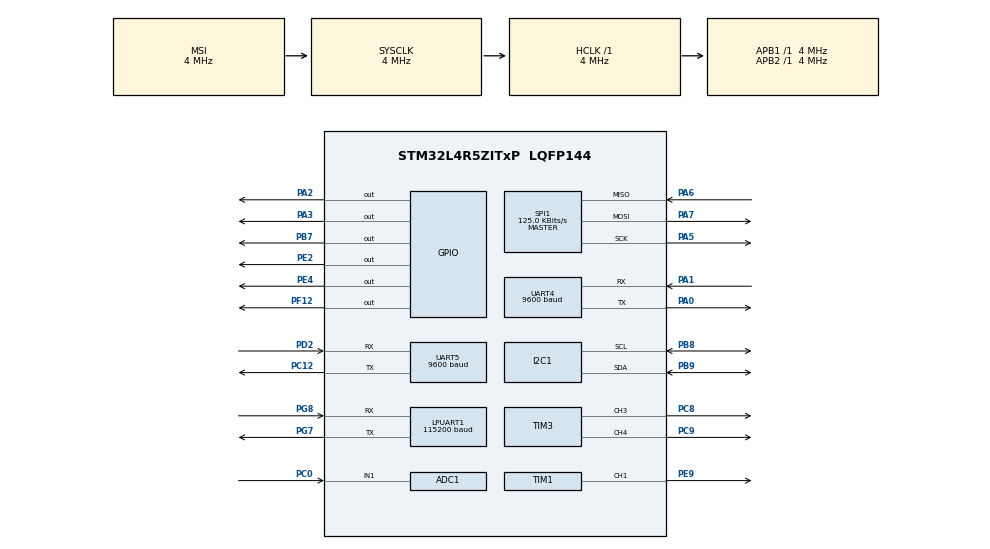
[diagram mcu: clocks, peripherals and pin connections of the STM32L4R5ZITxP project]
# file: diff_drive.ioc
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ADC1.Channel-0\#ChannelRegularConversion=ADC_CHANNEL_1
ADC1.NbrOfConversionFlag=1
ADC1.OffsetNumber-0\#ChannelRegularConversion=ADC_OFFSET_NONE
ADC1.Rank-0\#ChannelRegularConversion=1
ADC1.SamplingTime-0\#ChannelRegularConversion=ADC_SAMPLETIME_2CYCLES_5
ADC1.master=1
I2C1.Timing=0x00100D14
LPUART1.BaudRate=115200
LPUART1.WordLength=UART_WORDLENGTH_8B
Mcu.Family=STM32L4
Mcu.Name=STM32L4R5ZITxP
Mcu.Package=LQFP144
NVIC.PriorityGroup=NVIC_PRIORITYGROUP_4
NVIC.UART5_IRQn=true\:0\:0\:false\:false\:true\:true\:true\:true
PA0.Mode=Asynchronous
PA0.Signal=UART4_TX
PA1.Mode=Asynchronous
PA1.Signal=UART4_RX
PA10.Signal=USB_OTG_FS_ID
PA13\ (JTMS/SWDIO).Signal=SYS_JTMS-SWDIO
PA14\ (JTCK/SWCLK).Signal=SYS_JTCK-SWCLK
PA2.Signal=GPIO_Output
PA3.Signal=GPIO_Output
PA4.Signal=SPI1_NSS
PA5.Mode=Full_Duplex_Master
PA5.Signal=SPI1_SCK
PA6.Mode=Full_Duplex_Master
PA6.Signal=SPI1_MISO
PA7.Mode=Full_Duplex_Master
PA7.Signal=SPI1_MOSI
PA8.Signal=USB_OTG_FS_SOF
PA9.Signal=USB_OTG_FS_VBUS
PB1.Signal=ADCx_IN16
PB10.Signal=S_TIM2_CH3
PB12.Signal=SAI2_FS_A
PB13.Signal=SAI2_SCK_A
PB14.Signal=S_TIM15_CH1
PB15.Signal=SAI2_SD_A
PB2.Signal=COMP1_INP
PB3\ (JTDO/TRACESWO).Signal=SPI3_SCK
PB4\ (NJTRST).Signal=SPI3_MISO
PB5.Signal=SPI3_MOSI
PB6.Signal=COMP2_INP
PB7.Signal=GPIO_Output
PB8.Mode=I2C
PB8.Signal=I2C1_SCL
PB9.Mode=I2C
PB9.Signal=I2C1_SDA
PC0.Signal=ADCx_IN1
PC1.Signal=ADCx_IN2
PC10.Signal=SDMMC1_D2
PC11.Signal=SDMMC1_D3
PC12.Mode=Asynchronous
PC12.Signal=UART5_TX
PC13.Signal=SYS_WKUP2
PC14-OSC32_IN\ (PC14).Mode=LSE-External-Oscillator
PC14-OSC32_IN\ (PC14).Signal=RCC_OSC32_IN
PC15-OSC32_OUT\ (PC15).Mode=LSE-External-Oscillator
PC15-OSC32_OUT\ (PC15).Signal=RCC_OSC32_OUT
PC2.Signal=ADCx_IN3
PC3.Signal=ADCx_IN4
PC4.Signal=ADCx_IN13
PC5.Signal=ADCx_IN14
PC6.Signal=SAI2_MCLK_A
PC7.Signal=S_TIM3_CH2
PC8.Signal=S_TIM3_CH3
PC9.Signal=S_TIM3_CH4
PD0.Signal=CAN1_RX
PD14.Signal=S_TIM4_CH3
PD15.Signal=S_TIM4_CH4
PD2.Mode=Asynchronous
PD2.Signal=UART5_RX
PD3.Signal=USART2_CTS
PD4.Signal=USART2_RTS
PD5.Signal=USART2_TX
PD6.Signal=USART2_RX
PD8.Signal=USART3_TX
PD9.Signal=USART3_RX
PE0.Signal=S_TIM4_ETR
PE10.Signal=TIM1_CH2N
PE11.Signal=S_TIM1_CH2
PE12.Signal=TIM1_CH3N
PE13.Signal=S_TIM1_CH3
PE14.Signal=TIM1_BKIN2
PE15.Signal=TIM1_BKIN
PE2.Signal=GPIO_Output
PE3.Signal=SAI1_SD_B
PE4.Signal=GPIO_Output
PE7.Signal=S_TIM1_ETR
PE8.Signal=TIM1_CH1N
PE9.Signal=S_TIM1_CH1
PF0.Signal=I2C2_SDA
PF1.Signal=I2C2_SCL
PF12.Signal=GPIO_Output
PF2.Signal=I2C2_SMBA
PF7.Signal=SAI1_MCLK_B
PG7.Mode=Asynchronous
PG7.Signal=LPUART1_TX
PG8.Mode=Asynchronous
PG8.Signal=LPUART1_RX
PH0-OSC_IN\ (PH0).Mode=HSE-External-Oscillator
PH0-OSC_IN\ (PH0).Signal=RCC_OSC_IN
PH1-OSC_OUT\ (PH1).Mode=HSE-External-Oscillator
PH1-OSC_OUT\ (PH1).Signal=RCC_OSC_OUT
ProjectManager.HeapSize=0x200
ProjectManager.StackSize=0x400
ProjectManager.TargetToolchain=STM32CubeIDE
RCC.ADCFreq_Value=32000000
RCC.AHBFreq_Value=4000000
RCC.APB1Freq_Value=4000000
RCC.APB1TimFreq_Value=4000000
RCC.APB2Freq_Value=4000000
RCC.APB2TimFreq_Value=4000000
RCC.CortexFreq_Value=4000000
RCC.HCLKFreq_Value=4000000
RCC.HSE_VALUE=8000000
RCC.HSI48_VALUE=48000000
RCC.HSI_VALUE=16000000
RCC.MSI_VALUE=4000000
RCC.PLLSAI1N=16
RCC.SYSCLKFreq_VALUE=4000000
RCC.USBFreq_Value=32000000
RCC.VCOOutputFreq_Value=32000000
SH.ADCx_IN1.0=ADC1_IN1,IN1-Single-Ended
SH.ADCx_IN13.0=ADC1_IN13
SH.ADCx_IN14.0=ADC1_IN14
SH.ADCx_IN16.0=ADC1_IN16
SH.ADCx_IN2.0=ADC1_IN2
SH.ADCx_IN3.0=ADC1_IN3
SH.ADCx_IN4.0=ADC1_IN4
SH.S_TIM15_CH1.0=TIM15_CH1
SH.S_TIM1_CH1.0=TIM1_CH1,PWM Generation1 CH1
SH.S_TIM1_CH2.0=TIM1_CH2
SH.S_TIM1_CH3.0=TIM1_CH3
SH.S_TIM1_ETR.0=TIM1_ETR
SH.S_TIM2_CH3.0=TIM2_CH3
SH.S_TIM3_CH2.0=TIM3_CH2
SH.S_TIM3_CH3.0=TIM3_CH3,PWM Generation3 CH3
SH.S_TIM3_CH4.0=TIM3_CH4,PWM Generation4 CH4
SH.S_TIM4_CH3.0=TIM4_CH3
SH.S_TIM4_CH4.0=TIM4_CH4
SH.S_TIM4_ETR.0=TIM4_ETR
SPI1.BaudRatePrescaler=SPI_BAUDRATEPRESCALER_32
SPI1.CalculateBaudRate=125.0 KBits/s
SPI1.DataSize=SPI_DATASIZE_8BIT
SPI1.Direction=SPI_DIRECTION_2LINES
SPI1.Mode=SPI_MODE_MASTER
SPI1.VirtualType=VM_MASTER
TIM1.Channel-PWM\ Generation1\ CH1=TIM_CHANNEL_1
TIM3.Channel-PWM\ Generation3\ CH3=TIM_CHANNEL_3
TIM3.Channel-PWM\ Generation4\ CH4=TIM_CHANNEL_4
UART4.BaudRate=9600
UART5.BaudRate=9600
board=NUCLEO-L4R5ZI-P

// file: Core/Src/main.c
/* USER CODE BEGIN Header */
/**
  ******************************************************************************
  * @file           : main.c
  * @brief          : Main program body
  ******************************************************************************
  * @attention
  *
  * Copyright (c) 2025 STMicroelectronics.
  * All rights reserved.
  *
  * This software is licensed under terms that can be found in the LICENSE file
  * in the root directory of this software component.
  * If no LICENSE file comes with this software, it is provided AS-IS.
  *
  ******************************************************************************
  */
/* USER CODE END Header */
#include "main.h"

/* USER CODE BEGIN Includes */
#include "stdio.h"
#include "math.h"
#include "string.h"
#include "led.h"
/* USER CODE END Includes */

ADC_HandleTypeDef hadc1;

I2C_HandleTypeDef hi2c1;

UART_HandleTypeDef hlpuart1;
UART_HandleTypeDef huart4;
UART_HandleTypeDef huart5;

SPI_HandleTypeDef hspi1;

TIM_HandleTypeDef htim1;
TIM_HandleTypeDef htim3;

/* USER CODE BEGIN PV */
char xbee_buffer[100];
uint8_t xbee_int_buf[4];
volatile uint8_t xbee_int_ready = 0;

// FOR IR CAM 1
uint8_t buf[128];
uint8_t reg = 0x80;
#define SAD_IRCAM_W 0b11010010
#define SAD_IRCAM_R 0b11010011
volatile uint8_t glass_xbee_ready = 0;
uint8_t temp_send[32];
uint8_t xbee_glass_int_buf[2];
uint8_t glass_start_bytes[2] = {0xAA, 0x55};

//for temp tracking
#define HISTORY_LEN 4
uint8_t brightest_history[HISTORY_LEN];
uint8_t history_pos = 0; // where to write next
uint8_t history_count = 0; // how many valid entries (<= 50)

//for P controller
const float Kp_x = 8000.0f;
const float Kp_rot = 13000.0f;

const float Ki = 0.0f;//also tune
const float dt = 0.03f;//30ms

//modes
typedef enum {
    MODE_JOYSTICK = 0,
    MODE_IR_ONLY  = 1,
    MODE_MIXED    = 2,
} control_mode_t;

int power = 0;
int8_t button1 = 0;
int8_t button2 = 0;
static uint8_t last_button1 = 0;
static uint8_t last_button2 = 0;

volatile control_mode_t control_mode = MODE_IR_ONLY;

#define DIR_L1_PORT GPIOE
#define DIR_L1_PIN  GPIO_PIN_2
#define DIR_L2_PORT GPIOE
#define DIR_L2_PIN  GPIO_PIN_4
#define DIR_R1_PORT GPIOA
#define DIR_R1_PIN  GPIO_PIN_2
#define DIR_R2_PORT GPIOA
#define DIR_R2_PIN  GPIO_PIN_3

#define RED_Port	GPIOF
#define RED_Pin		GPIO_PIN_12

volatile uint8_t  buzzer_playing = 0;
volatile uint32_t buzzer_idx = 0;
volatile uint32_t buzzer_note_deadline_ms = 0;

#define TIMER_CLK_HZ 4000000.0f

typedef struct {
    const float *freqs;
    const float *durs;
    uint32_t     len;
} Song;

const float levels_freqs[] = {
		742.90, 829.03, 333.76, 656.76, 559.86, 495.26, 419.90, 366.06, 333.76, 333.76, 333.76, 312.23, 312.23, 333.76, 559.86, 495.26, 419.90, 366.06, 333.76, 333.76, 333.76, 279.93, 279.93, 247.63, 247.63, 559.86, 495.26, 419.90, 366.06, 333.76, 333.76, 312.23, 333.76, 559.86, 549.10, 495.26, 419.90, 366.06, 333.76, 333.76, 333.76, 333.76, 279.93, 279.93, 247.63, 247.63, 247.63, 247.63, 366.06, 333.76, 333.76, 333.76, 312.23, 333.76, 559.86, 495.26, 419.90, 366.06, 333.76, 333.76, 333.76, 333.76, 333.76, 279.93, 279.93, 247.63, 247.63, 559.86, 495.26, 419.90, 409.13, 409.13, 419.90, 495.26, 419.90, 409.13, 495.26, 409.13, 409.13, 409.13, 409.13
	};
const float levels_durs[]  = {
		417.96, 197.37, 92.88, 336.69, 116.10, 208.98, 197.37, 220.59, 603.72, 615.33, 174.15, 185.76, 197.37, 534.06, 174.15, 220.59, 197.37, 197.37, 185.76, 580.50, 615.33, 197.37, 208.98, 197.37, 290.25, 139.32, 220.59, 208.98, 220.59, 1253.88, 162.54, 429.57, 592.11, 139.32, 92.88, 208.98, 197.37, 220.59, 185.76, 301.86, 255.42, 603.72, 197.37, 220.59, 197.37, 545.67, 174.15, 197.37, 243.81, 615.33, 615.33, 162.54, 429.57, 522.45, 162.54, 220.59, 208.98, 220.59, 185.76, 232.20, 81.27, 174.15, 603.72, 197.37, 208.98, 208.98, 325.08, 139.32, 220.59, 197.37, 383.13, 104.49, 150.93, 92.88, 116.10, 174.15, 104.49, 197.37, 267.03, 92.88, 150.93
	};

const float song2_freqs[] = {387.60, 527.56, 592.16, 527.56, 495.26, 441.43, 441.43, 592.16, 592.16, 656.76, 592.16, 527.56, 495.26, 387.60, 656.76, 699.83, 656.76, 592.16, 527.56, 441.43, 387.60, 387.60, 441.43, 592.16, 495.26, 527.56, 387.60, 527.56, 527.56, 495.26, 495.26, 527.56, 495.26, 441.43, 387.60, 592.16, 656.76, 592.16, 527.56, 516.80, 527.56, 785.96, 387.60, 387.60, 441.43, 592.16, 495.26, 527.56, 527.56, 527.56, 516.80, 516.80, 527.56, 527.56, 527.56};
const float song2_durs[]  = {522.45, 743.04, 255.42, 255.42, 243.81, 975.24, 476.01, 476.01, 185.76, 255.42, 255.42, 255.42, 487.62, 998.46, 754.65, 255.42, 243.81, 255.42, 464.40, 499.23, 232.20, 220.59, 487.62, 499.23, 499.23, 998.46, 487.62, 476.01, 963.63, 986.85, 499.23, 476.01, 510.84, 487.62, 986.85, 522.45, 499.23, 499.23, 220.59, 81.27, 197.37, 499.23, 719.82, 220.59, 499.23, 499.23, 499.23, 975.24, 220.59, 371.52, 81.27, 104.49, 534.06, 197.37, 1729.89};

const float song3_freqs[] = {290.70, 495.26, 441.43, 387.60, 290.70, 290.70, 495.26, 441.43, 387.60, 333.76, 333.76, 527.56, 495.26, 441.43, 366.06, 366.06, 366.06, 366.06, 366.06, 592.16, 527.56, 441.43, 495.26, 290.70, 495.26, 441.43, 387.60, 290.70, 290.70, 495.26, 441.43, 387.60, 333.76, 333.76, 527.56, 495.26, 441.43, 366.06, 592.16, 559.86, 549.10, 592.16, 656.76, 592.16, 527.56, 441.43, 387.60, 592.16, 495.26, 592.16, 387.60, 441.43, 495.26, 495.26, 527.56, 495.26, 495.26, 495.26, 441.43, 495.26, 441.43, 592.16, 495.26, 592.16, 387.60, 441.43, 495.26, 495.26, 495.26, 527.56, 495.26, 592.16, 592.16, 527.56, 441.43, 387.60, 398.36, 398.36, 387.60, 398.36, 387.60, 398.36, 387.60};
const float song3_durs[] = {359.91, 336.69, 325.08, 336.69, 975.24, 684.99, 325.08, 336.69, 336.69, 1288.71, 348.30, 336.69, 325.08, 325.08, 673.38, 162.54, 81.27, 81.27, 348.30, 336.69, 336.69, 325.08, 1323.54, 348.30, 336.69, 325.08, 336.69, 661.77, 963.63, 336.69, 336.69, 336.69, 1207.44, 348.30, 325.08, 325.08, 336.69, 336.69, 301.86, 116.10, 81.27, 336.69, 336.69, 336.69, 325.08, 336.69, 661.77, 661.77, 3006.98, 336.69, 487.62, 174.15, 847.53, 417.96, 1683.45, 812.70, 127.71, 325.08, 661.77, 336.69, 650.16, 673.38, 3006.98, 336.69, 487.62, 174.15, 708.21, 336.69, 139.32, 1695.06, 998.46, 301.86, 278.64, 336.69, 325.08, 1323.54, 185.76, 92.88, 104.49, 127.71, 174.15, 754.65, 1265.49};

const float song4_freqs[] = {387.60, 344.53, 333.76, 290.70, 258.40, 290.70, 333.76, 258.40, 290.70, 333.76, 344.53, 290.70, 333.76, 290.70, 258.40, 247.63, 258.40, 387.60, 344.53, 333.76, 290.70, 258.40, 290.70, 333.76, 258.40, 290.70, 333.76, 344.53, 290.70, 333.76, 290.70, 258.40, 247.63, 258.40, 290.70, 333.76, 344.53, 290.70, 333.76, 344.53, 387.60, 290.70, 333.76, 366.06, 387.60, 441.43, 495.26, 527.56, 495.26, 441.43, 387.60, 344.53, 333.76, 290.70, 258.40, 290.70, 333.76, 258.40, 441.43, 441.43, 387.60, 344.53, 333.76, 290.70, 258.40, 269.17, 258.40};
const float song4_durs[] = {766.26, 220.59, 499.23, 499.23, 487.62, 487.62, 499.23, 476.01, 267.03, 255.42, 197.37, 243.81, 743.04, 243.81, 464.40, 464.40, 975.24, 754.65, 243.81, 499.23, 510.84, 476.01, 499.23, 510.84, 487.62, 255.42, 255.42, 232.20, 255.42, 743.04, 243.81, 510.84, 476.01, 963.63, 743.04, 255.42, 464.40, 487.62, 731.43, 220.59, 499.23, 476.01, 255.42, 243.81, 487.62, 255.42, 255.42, 452.79, 499.23, 499.23, 1741.50, 243.81, 499.23, 510.84, 476.01, 487.62, 510.84, 487.62, 243.81, 731.43, 743.04, 220.59, 499.23, 487.62, 1451.25, 92.88, 2438.10};

const float song5_freqs[] = {333.76, 258.40, 290.70, 290.70, 247.63, 247.63, 333.76, 333.76, 258.40, 344.53, 333.76, 527.56, 527.56, 516.80, 527.56, 441.43, 333.76, 247.63, 344.53, 355.30, 344.53, 333.76, 592.16, 592.16, 592.16, 495.26, 656.76, 592.16, 527.56, 527.56, 656.76, 592.16, 527.56, 656.76, 592.16, 527.56, 441.43, 441.43, 656.76, 656.76, 344.53, 344.53, 290.70, 344.53, 355.30, 344.53, 290.70, 290.70, 344.53, 290.70, 172.27, 290.70, 290.70, 344.53, 290.70, 290.70, 344.53, 290.70, 172.27, 172.27, 290.70, 172.27, 333.76, 441.43, 441.43, 441.43, 419.90, 409.13, 419.90, 495.26, 495.26, 495.26, 441.43, 441.43, 441.43, 527.56, 527.56, 495.26, 495.26, 592.16, 592.16, 559.86, 656.76, 592.16, 592.16, 699.83, 699.83, 656.76, 785.96, 699.83, 699.83, 882.86, 829.03, 829.03, 990.53, 882.86, 1044.36, 1044.36, 882.86, 656.76, 527.56, 441.43, 441.43, 441.43, 333.76, 258.40, 258.40, 258.40, 1173.56, 990.53, 829.03, 829.03, 829.03, 656.76, 592.16, 592.16, 495.26, 419.90, 409.13, 419.90, 409.13, 419.90, 441.43, 419.90, 290.70, 419.90, 441.43, 258.40, 829.03, 592.16, 592.16, 527.56, 527.56, 882.86, 882.86, 882.86, 527.56, 527.56, 527.56, 882.86, 527.56, 882.86, 527.56, 882.86};
const float song5_durs[] = {534.06, 2786.39, 336.69, 162.54, 3308.84, 116.10, 185.76, 336.69, 150.93, 487.62, 150.93, 139.32, 92.88, 81.27, 116.10, 708.21, 534.06, 150.93, 127.71, 81.27, 278.64, 150.93, 139.32, 139.32, 162.54, 812.70, 359.91, 162.54, 661.77, 116.10, 371.52, 127.71, 812.70, 359.91, 127.71, 650.16, 499.23, 81.27, 510.84, 185.76, 336.69, 127.71, 3482.99, 150.93, 81.27, 278.64, 185.76, 232.20, 81.27, 232.20, 429.57, 220.59, 150.93, 534.06, 197.37, 162.54, 104.49, 278.64, 313.47, 92.88, 150.93, 394.74, 197.37, 150.93, 127.71, 626.94, 139.32, 92.88, 104.49, 162.54, 127.71, 638.55, 150.93, 127.71, 150.93, 139.32, 139.32, 139.32, 162.54, 139.32, 139.32, 301.86, 336.69, 139.32, 150.93, 150.93, 162.54, 325.08, 325.08, 162.54, 162.54, 325.08, 139.32, 150.93, 150.93, 185.76, 139.32, 301.86, 174.15, 510.84, 162.54, 150.93, 127.71, 150.93, 174.15, 139.32, 116.10, 267.03, 476.01, 185.76, 162.54, 127.71, 139.32, 174.15, 313.47, 162.54, 162.54, 127.71, 81.27, 92.88, 81.27, 81.27, 801.09, 81.27, 92.88, 81.27, 650.16, 150.93, 116.10, 139.32, 139.32, 336.69, 429.57, 92.88, 185.76, 139.32, 162.54, 150.93, 127.71, 162.54, 185.76, 127.71, 208.98, 928.80};

Song songs[] = {
    { levels_freqs, levels_durs, sizeof(levels_freqs)/sizeof(levels_freqs[0]) },
    { song2_freqs, song2_durs, sizeof(song2_freqs)/sizeof(song2_freqs[0]) },
	{song3_freqs, song3_durs, sizeof(song3_freqs)/sizeof(song3_freqs[0]) },
	{song4_freqs, song4_durs, sizeof(song4_freqs)/sizeof(song4_freqs[0]) },
	{song5_freqs, song5_durs, sizeof(song5_freqs)/sizeof(song5_freqs[0]) },
};

static const float *current_freqs = levels_freqs;
static const float *current_durs  = levels_durs;
static uint32_t     current_len   = sizeof(levels_freqs)/sizeof(levels_freqs[0]);

/* USER CODE END PV */

void SystemClock_Config(void);
static void MX_GPIO_Init(void);
static void MX_TIM3_Init(void);
static void MX_UART5_Init(void);
static void MX_LPUART1_UART_Init(void);
static void MX_I2C1_Init(void);
static void MX_UART4_Init(void);
static void MX_SPI1_Init(void);
static void MX_ADC1_Init(void);
static void MX_TIM1_Init(void);

/* USER CODE BEGIN 0 */

void MX_NVIC_Init(void)
{
    HAL_NVIC_SetPriority(UART5_IRQn, 0, 0);
    HAL_NVIC_EnableIRQ(UART5_IRQn);
}

int xbee_readline(char *buf, int maxlen, UART_HandleTypeDef *huartx)
{
    int i = 0;
    uint8_t ch;
    while (i < maxlen - 1) {
        if (HAL_UART_Receive(huartx, &ch, 1, 500) != HAL_OK) {
            break;
        }
        buf[i++] = ch;
        if (ch == '\r' || ch == '\n') break;
    }
    buf[i] = '\0';
    return i;
}

void xbee_send(const char* cmd, UART_HandleTypeDef *huartx) {
	uint8_t resp[8];

	HAL_UART_Transmit(huartx, (uint8_t*)cmd, strlen(cmd), 100);
	HAL_UART_Transmit(huartx, (uint8_t*)"\r", 1, 100);
	HAL_Delay(30);

	HAL_UART_Receive(huartx, resp, 3, 1000);
	printf("resp: %s\r", resp);
}

uint8_t xbee_enter_command(UART_HandleTypeDef *huartx)
{
    uint8_t resp[8];
    HAL_StatusTypeDef st;

    HAL_Delay(1000);   // 1.2 sec
    HAL_UART_Transmit(huartx, (uint8_t*)"+++", 3, 100);
    HAL_Delay(1000);

    // XBee should respond with "OK\r"
    st = HAL_UART_Receive(huartx, resp, 3, 1000);

    printf("enter cmd resp: st=%d, bytes=%02X %02X %02X\r\n",
           st, resp[0], resp[1], resp[2]);

    // check for "OK\r"
    if (st == HAL_OK && resp[0] == 'O' && resp[1] == 'K')
        return 1;
    else
        return 0;
}

void xbee_router_setup() {
	if(xbee_enter_command(&huart5)) {
		xbee_send("ATID 1111", &huart5);
		xbee_send("ATCH 10", &huart5);
		xbee_send("ATMY 2", &huart5);
		xbee_send("ATDL 1", &huart5);
		xbee_send("ATWR", &huart5);
		xbee_send("ATCN", &huart5);
	}
	else {
		printf("xbee router setup failed! \r\n");
	}
}

void xbee_ir_setup() {
	if(xbee_enter_command(&huart4)) {
		xbee_send("ATID 2222", &huart4);
		xbee_send("ATCH 17", &huart4);
		xbee_send("ATMY 1", &huart4);
		xbee_send("ATDL 2", &huart4);
		xbee_send("ATWR", &huart4);
		xbee_send("ATCN", &huart4);
	}
	else {
		printf("xbee ir setup failed! \r\n");
	}
}

void motors_gpio_init(void) {
  HAL_GPIO_WritePin(DIR_L1_PORT, DIR_L1_PIN, GPIO_PIN_RESET);
  HAL_GPIO_WritePin(DIR_L2_PORT, DIR_L2_PIN, GPIO_PIN_RESET);
  HAL_GPIO_WritePin(DIR_R1_PORT, DIR_R1_PIN, GPIO_PIN_RESET);
  HAL_GPIO_WritePin(DIR_R2_PORT, DIR_R2_PIN, GPIO_PIN_RESET);
}

void motor_left_set_speed(uint16_t duty) {
    __HAL_TIM_SET_COMPARE(&htim3, TIM_CHANNEL_3, duty);
}

void motor_right_set_speed(uint16_t duty) {
    __HAL_TIM_SET_COMPARE(&htim3, TIM_CHANNEL_4, duty);
}

void motor_left_forward(uint16_t speed) {
    HAL_GPIO_WritePin(DIR_L1_PORT, DIR_L1_PIN, GPIO_PIN_SET);
    HAL_GPIO_WritePin(DIR_L2_PORT, DIR_L2_PIN, GPIO_PIN_RESET);
    motor_left_set_speed(speed);
}

void motor_left_reverse(uint16_t speed) {
    HAL_GPIO_WritePin(DIR_L1_PORT, DIR_L1_PIN, GPIO_PIN_RESET);
    HAL_GPIO_WritePin(DIR_L2_PORT, DIR_L2_PIN, GPIO_PIN_SET);
    motor_left_set_speed(speed);
}
void motor_left_stop() {
	HAL_GPIO_WritePin(DIR_L1_PORT, DIR_L1_PIN, GPIO_PIN_SET);
	HAL_GPIO_WritePin(DIR_L2_PORT, DIR_L2_PIN, GPIO_PIN_SET);
    motor_left_set_speed(0);
}
void motor_right_forward(uint16_t speed) {
    HAL_GPIO_WritePin(DIR_R1_PORT, DIR_R1_PIN, GPIO_PIN_SET);
    HAL_GPIO_WritePin(DIR_R2_PORT, DIR_R2_PIN, GPIO_PIN_RESET);
    motor_right_set_speed(speed);
}

void motor_right_reverse(uint16_t speed) {
    HAL_GPIO_WritePin(DIR_R1_PORT, DIR_R1_PIN, GPIO_PIN_RESET);
    HAL_GPIO_WritePin(DIR_R2_PORT, DIR_R2_PIN, GPIO_PIN_SET);
    motor_right_set_speed(speed);
}
void motor_right_stop() {
	HAL_GPIO_WritePin(DIR_R1_PORT, DIR_R1_PIN, GPIO_PIN_SET);
	HAL_GPIO_WritePin(DIR_R2_PORT, DIR_R2_PIN, GPIO_PIN_SET);
    motor_right_set_speed(0);
}

uint8_t find_brightest_pixel(const uint8_t *frame, uint8_t *max_val_out){
    uint8_t best_idx = 0;
    uint8_t best_val = 0;

    for (int i = 0; i < 32; i++) {
        uint8_t byte = frame[i];
        uint8_t hi = (byte >> 4) & 0x0F;
        uint8_t lo = byte & 0x0F;

        if (hi > best_val) {
            best_val = hi;
            best_idx = i * 2;
        }
        if (lo > best_val) {
            best_val = lo;
            best_idx = i * 2 + 1;
        }
    }

    if (max_val_out) {
        *max_val_out = best_val;
    }
    return best_idx;
}
uint8_t getStable(){
	//make array of counts ranging from 0-64 to see which pixel is brightest and appears most
	uint8_t count[64] = {0};

	for (int i = 0; i < history_count; i++){
		int idx = brightest_history[i];
		if (i < 64){
			count[idx]++;
		}
	}
	//find max and index of the most freq + brightest count
	int best_idx = 0;
	int best_count = 0;
	for (int i = 0; i < 64; i++){
		if (count[i] > best_count){
			best_count = count[i];
			best_idx = i;
		}
	}
	return (uint8_t)best_idx;
}
float batteryValue(){
	float R1 = 10000.0;
	float R2 = 2200.0;
	float VREF = 3.3;
	float MAX = 4095.0;
	float scale = R2/(R1 + R2);

    HAL_ADC_Start(&hadc1);

    if (HAL_ADC_PollForConversion(&hadc1, 10) != HAL_OK) {
        HAL_ADC_Stop(&hadc1);
        return -1.0f; //error
    }

    uint32_t raw = HAL_ADC_GetValue(&hadc1);
    printf("ADC raw = %lu\r\n", raw);

    float VADC = (raw / MAX) * VREF;
    float VBAT = VADC / scale;

    return VBAT;
}
uint8_t batteryLevel(float vbat){
	const float V_EMPTY = 9.0f;
	    const float V_FULL  = 12.6f;
	    if (vbat <= V_EMPTY) return 0;
	    if (vbat >= V_FULL)  return 100;

	    float pct_f = (vbat - V_EMPTY) * 100.0f / (V_FULL - V_EMPTY);
	    if (pct_f < 0)   pct_f = 0;
	    if (pct_f > 100) pct_f = 100;

	    uint8_t pct = (uint8_t)(pct_f + 0.5f);

	    static uint8_t level = 0;
	    static uint8_t initialized = 0;

	    // thresholds in % for each step
	    // going UP:   15, 35, 55, 75, 95
	    // going DOWN:  0, 25, 45, 65, 85
	    static const uint8_t up[]   = {15, 35, 55, 75, 95};
	    static const uint8_t down[] = { 0, 25, 45, 65, 85};

	    if (!initialized) {
	        if      (pct >= 90) level = 5;
	        else if (pct >= 70) level = 4;
	        else if (pct >= 50) level = 3;
	        else if (pct >= 30) level = 2;
	        else if (pct >= 10) level = 1;
	        else                level = 0;
	        initialized = 1;
	    } else {
	        if (level < 5 && pct > up[level]) {
	            level++;
	        } else if (level > 0 && pct < down[level - 1]) {
	            level--;
	        }
    }
	if (level < 0 || level > 5) {
		level = 0;
	}
	return level;
}

static void buzzer_start_note(uint32_t i)
{
    if (i >= current_len) {
        HAL_TIM_PWM_Stop(&htim1, TIM_CHANNEL_1);
        buzzer_playing = 0;
        return;
    }

    float note = current_freqs[i];
    if (note <= 0.0f) {
        // rest: stop PWM
        HAL_TIM_PWM_Stop(&htim1, TIM_CHANNEL_1);
    } else {
        uint32_t arr = (uint32_t)(TIMER_CLK_HZ / note) - 1;
        __HAL_TIM_SET_AUTORELOAD(&htim1, arr);

        uint32_t duty = (arr + 1) / 2;
        __HAL_TIM_SET_COMPARE(&htim1, TIM_CHANNEL_1, duty);

        __HAL_TIM_SET_COUNTER(&htim1, 0);
        HAL_TIM_PWM_Start(&htim1, TIM_CHANNEL_1);
    }

    uint32_t dur = (uint32_t)current_durs[i];
    buzzer_note_deadline_ms = HAL_GetTick() + dur;
}

void buzzer_start_melody(void)
{
    buzzer_idx = 0;
    buzzer_playing = 1;
    buzzer_start_note(buzzer_idx);
}

void buzzer_service(void)
{
    if (!buzzer_playing) return;

    uint32_t now = HAL_GetTick();
    if ((int32_t)(now - buzzer_note_deadline_ms) >= 0) {
        // time for next note
        buzzer_idx++;
        if (buzzer_idx >= current_len) {
            HAL_TIM_PWM_Stop(&htim1, TIM_CHANNEL_1);
            buzzer_playing = 0;
        } else {
            buzzer_start_note(buzzer_idx);
        }
    }
}
/* USER CODE END 0 */

int main(void)
{

  /* MCU Configuration--------------------------------------------------------*/

  /* Reset of all peripherals, Initializes the Flash interface and the Systick. */
  HAL_Init();

  /* Configure the system clock */
  SystemClock_Config();

  /* USER CODE BEGIN SysInit */
  MX_NVIC_Init();
  /* USER CODE END SysInit */

  /* Initialize all configured peripherals */
  MX_GPIO_Init();
  MX_TIM3_Init();
  MX_UART5_Init();
  MX_LPUART1_UART_Init();
  MX_I2C1_Init();
  MX_UART4_Init();
  MX_SPI1_Init();
  MX_ADC1_Init();
  MX_TIM1_Init();
  /* USER CODE BEGIN 2 */
  motors_gpio_init();
  HAL_TIM_PWM_Start(&htim3, TIM_CHANNEL_3);
  HAL_TIM_PWM_Start(&htim3, TIM_CHANNEL_4);
  HAL_Delay(1000);
  HAL_UART_Receive_IT(&huart5, xbee_int_buf, 4);

  uint8_t command;
  uint8_t info;
  int8_t rot_val = 0;
  uint8_t target_row = 4;
  uint8_t target_col = 4;

  led_Init(&hspi1);
  led_SetIllum(&hspi1, 0x01);
  led_setColor(&hspi1, 0x00, 0x00, 0x10);

  static songIdx = 0;
  /* USER CODE END 2 */

  /* Infinite loop */
  /* USER CODE BEGIN WHILE */
  uint8_t test_started = 0;
  while (1)
  {
    /* USER CODE END WHILE */

    /* USER CODE BEGIN 3 */
    songIdx = songIdx % 5;
	  buzzer_service();

	  float batt = batteryValue();
	  printf("battery value: %f\r\n", batt);

	  uint8_t temp_send[32];
	  uint8_t batt_dir = batteryLevel(batt) &0b111 << 2;
	  printf("battery level: %f\r\n", batt_dir);
	  HAL_I2C_Master_Transmit(&hi2c1, SAD_IRCAM_W, &reg, 1, 1000);
	  HAL_I2C_Master_Receive(&hi2c1, SAD_IRCAM_R, buf, 128, 1000);

	  if (xbee_int_ready){

		  command = xbee_int_buf[0];
		  info = xbee_int_buf[1];
		  button1 = info & 0x01;
		  button2 = (info >> 1) & 0x01;

		  current_freqs = songs[songIdx].freqs;
		  current_durs = songs[songIdx].durs;
		  current_len = songs[songIdx].len;

		  if (button1 && !last_button1) {
			  buzzer_start_melody();
		  }else if(!button1){
			  buzzer_playing = 0;
			  HAL_TIM_PWM_Stop(&htim1, TIM_CHANNEL_1);
		  }
		  if ((button2 == !last_button2) && !buzzer_playing) {
			  songIdx++;
		  }

		  last_button1 = button1;
		  last_button2 = button2;

		  if(info>>7){
			  rot_val = (int8_t)((info & 0b01111100)>>2);
		  }else{
			  rot_val = -(int8_t)((info & 0b01111100)>>2);
		  }

//		  printf("buttons: %d, %d | rotation: %d\r\n", button1, button2, rot_val);
		  if(command >> 7){
			  power = 1;
		  }
		  else {
			  led_setColor(&hspi1, 0x00, 0x00, 0xFF);
			  power = 0;
			  motor_left_stop();
			  motor_right_stop();
		  }
//		  printf("[debug] switch mode: %d \n", (command >> 6));
		  if((command >> 6) & 0b1){
			  control_mode = MODE_JOYSTICK;
		  }else{
			  control_mode = MODE_IR_ONLY;
		  }

		  if(control_mode == MODE_JOYSTICK && power){
			  led_setColor(&hspi1, 0x00, 0xFF, 0x00);
			  uint8_t right_command = command & 0b11;
			  int right_dir = command & 0b100;

			  command = (command >>3);
			  uint8_t left_command = command & 0b11;
			  int left_dir = command & 0b100;

//			  printf("left: %d, right: %d\n\r", left_command, right_command);

			  uint32_t right_pwm = (50000*(uint32_t)right_command)/3+70000;
			  if(right_command == 0){
				  motor_right_stop();
				  batt_dir = (batt_dir | 0b00) << 2;
			  }else if(right_dir){
				  motor_right_forward(right_pwm);
				  batt_dir = (batt_dir | 0b01) << 2;
			  } else {
				  motor_right_reverse(right_pwm);
				  batt_dir = (batt_dir | 0b10) << 2;
			  }

			  uint32_t left_pwm = (50000*left_command)/3+70000;
			  if(left_command == 0){
				  motor_left_stop();
				  batt_dir = batt_dir | 0b00;
			  }else if(left_dir){
				  motor_left_forward(left_pwm);
				  batt_dir = batt_dir | 0b01;
			  } else {
				  motor_left_reverse(left_pwm);
				  batt_dir = batt_dir | 0b10;
			  }
		  }
	  }

	  int idx = 0;

	  float T_MIN = 12.0f + (float)rot_val;
	  float T_MAX = 28.0f + (float)rot_val;

	  for (int i = 0; i < 8; i++) {
	      for (int j = 0; j <= 6; j += 2) {
	          uint16_t raw1 = (buf[i*16 + j*2 + 1] << 8) | buf[i*16 + j*2];
	          if (raw1 > 2047) raw1 -= 4096;
	          float t1 = raw1 * 0.25f;

	          if (t1 < T_MIN) t1 = T_MIN;
	          float norm1 = (t1 - T_MIN) / (T_MAX - T_MIN);
	          if (norm1 < 0) norm1 = 0;
	          if (norm1 > 1) norm1 = 1;
	          uint8_t p1 = (uint8_t)(norm1 * 15.0f + 0.5f);

	          uint16_t raw2 = (buf[i*16 + (j+1)*2 + 1] << 8) | buf[i*16 + (j+1)*2];
	          if (raw2 > 2047) raw2 -= 4096;
	          float t2 = raw2 * 0.25f;

	          if (t2 < T_MIN) t2 = T_MIN;
	          float norm2 = (t2 - T_MIN) / (T_MAX - T_MIN);
	          if (norm2 < 0) norm2 = 0;
	          if (norm2 > 1) norm2 = 1;
	          uint8_t p2 = (uint8_t)(norm2 * 15.0f + 0.5f);

	          temp_send[idx++] = (uint8_t)((p1 << 4) | (p2 & 0x0F));
	      }
	  }

	  for (uint8_t i = 0; i < 32; i++) {
		  uint8_t byte = temp_send[i];
		  printf("%d %d  ", (byte >> 4) & 0x0F, byte & 0x0F);
		  if (i % 4 == 3) printf("\n\r");
	  }
	  printf("-----------\n\r");

	  if ((control_mode == MODE_IR_ONLY) && power){
		  led_setColor(&hspi1, 0xFF, 0x00, 0x00);
		  uint8_t frame_max_val;
		  uint8_t frame_max_idx = find_brightest_pixel(temp_send, &frame_max_val);

		  // circular buffer
		  brightest_history[history_pos] = frame_max_idx;
		  history_pos = (history_pos + 1) % HISTORY_LEN;
		  if (history_count < HISTORY_LEN) {
		      history_count++;
		  }

		  //get stable index
		  uint8_t stable_idx = getStable();
		  uint8_t row = stable_idx / 8;
		  if(row < target_row){
			  target_row--;
		  }else if (row > target_row){
			  target_row++;
		  }
		  uint8_t col = stable_idx % 8;
		  if(col < target_col){
			  target_col--;
		  }else if (col > target_col){
			  target_col++;
		  }

//		  printf("[Target]frame max idx=%d val=%d, stable idx=%d (row=%d col=%d)\n\r",
//		             frame_max_idx, frame_max_val, stable_idx, target_row, target_col);

		  //P CONTROLLER
		  float rotate_error = ((float)target_col) - 3.5f;
		  float forward_error = ((float)target_row) - 2.0f;

		  if (frame_max_val < 1){
			  motor_left_stop();
			  motor_right_stop();
			  batt_dir = ((batt_dir | 0b00) << 2) | 0b00;
		  }else{
			  if(-1<rotate_error && rotate_error<1){
				  rotate_error = 0;
			  }
			  if(0<forward_error && forward_error <5){
				  forward_error = 0;
			  }

			  float steering = Kp_rot * rotate_error;
			  float  forward = Kp_x * forward_error;

			  float left_command = forward + steering;
			  float right_command = forward - steering;

			  if(right_command > 0){
				  uint32_t rotate_pwm =	70000 + (uint32_t)(right_command);
				  motor_right_forward(rotate_pwm);
				  batt_dir = (batt_dir | 0b01) << 2;
			  }else{
				  uint32_t rotate_pwm =	70000 + (uint32_t)(-right_command);
				  motor_right_reverse(rotate_pwm);
				  batt_dir = (batt_dir | 0b10) << 2;
			  }

			  if(left_command > 0){
				  uint32_t rotate_pwm =	70000 + (uint32_t)(left_command);
				  motor_left_forward(rotate_pwm);
				  batt_dir = batt_dir | 0b01;
			  }else{
				  uint32_t rotate_pwm =	70000 + (uint32_t)(-left_command);
				  motor_left_reverse(rotate_pwm);
				  batt_dir = batt_dir | 0b10;
			  }
		  }
	  }
	  HAL_UART_Transmit(&huart4, glass_start_bytes, 2, 100);
	  if (!HAL_UART_Transmit(&huart4, temp_send, 32, 100) == HAL_OK) {
		  printf("[debug] UART4 transmit failed\n");
	  }
	  HAL_UART_Transmit(&huart4, &batt_dir, 1, 100);
	  HAL_Delay(100);
  }
  /* USER CODE END 3 */
}

void SystemClock_Config(void)
{
  RCC_OscInitTypeDef RCC_OscInitStruct = {0};
  RCC_ClkInitTypeDef RCC_ClkInitStruct = {0};

  /** Configure the main internal regulator output voltage
  */
  if (HAL_PWREx_ControlVoltageScaling(PWR_REGULATOR_VOLTAGE_SCALE1) != HAL_OK)
  {
    Error_Handler();
  }

  /** Initializes the RCC Oscillators according to the specified parameters
  * in the RCC_OscInitTypeDef structure.
  */
  RCC_OscInitStruct.OscillatorType = RCC_OSCILLATORTYPE_MSI;
  RCC_OscInitStruct.MSIState = RCC_MSI_ON;
  RCC_OscInitStruct.MSICalibrationValue = 0;
  RCC_OscInitStruct.MSIClockRange = RCC_MSIRANGE_6;
  RCC_OscInitStruct.PLL.PLLState = RCC_PLL_NONE;
  if (HAL_RCC_OscConfig(&RCC_OscInitStruct) != HAL_OK)
  {
    Error_Handler();
  }

  /** Initializes the CPU, AHB and APB buses clocks
  */
  RCC_ClkInitStruct.ClockType = RCC_CLOCKTYPE_HCLK|RCC_CLOCKTYPE_SYSCLK
                              |RCC_CLOCKTYPE_PCLK1|RCC_CLOCKTYPE_PCLK2;
  RCC_ClkInitStruct.SYSCLKSource = RCC_SYSCLKSOURCE_MSI;
  RCC_ClkInitStruct.AHBCLKDivider = RCC_SYSCLK_DIV1;
  RCC_ClkInitStruct.APB1CLKDivider = RCC_HCLK_DIV1;
  RCC_ClkInitStruct.APB2CLKDivider = RCC_HCLK_DIV1;

  if (HAL_RCC_ClockConfig(&RCC_ClkInitStruct, FLASH_LATENCY_0) != HAL_OK)
  {
    Error_Handler();
  }
}

static void MX_ADC1_Init(void)
{

  ADC_ChannelConfTypeDef sConfig = {0};

  /** Common config
  */
  hadc1.Instance = ADC1;
  hadc1.Init.ClockPrescaler = ADC_CLOCK_ASYNC_DIV1;
  hadc1.Init.Resolution = ADC_RESOLUTION_12B;
  hadc1.Init.DataAlign = ADC_DATAALIGN_RIGHT;
  hadc1.Init.ScanConvMode = ADC_SCAN_DISABLE;
  hadc1.Init.EOCSelection = ADC_EOC_SINGLE_CONV;
  hadc1.Init.LowPowerAutoWait = DISABLE;
  hadc1.Init.ContinuousConvMode = DISABLE;
  hadc1.Init.NbrOfConversion = 1;
  hadc1.Init.DiscontinuousConvMode = DISABLE;
  hadc1.Init.ExternalTrigConv = ADC_SOFTWARE_START;
  hadc1.Init.ExternalTrigConvEdge = ADC_EXTERNALTRIGCONVEDGE_NONE;
  hadc1.Init.DMAContinuousRequests = DISABLE;
  hadc1.Init.Overrun = ADC_OVR_DATA_PRESERVED;
  hadc1.Init.OversamplingMode = DISABLE;
  if (HAL_ADC_Init(&hadc1) != HAL_OK)
  {
    Error_Handler();
  }

  /** Configure Regular Channel
  */
  sConfig.Channel = ADC_CHANNEL_1;
  sConfig.Rank = ADC_REGULAR_RANK_1;
  sConfig.SamplingTime = ADC_SAMPLETIME_2CYCLES_5;
  sConfig.SingleDiff = ADC_SINGLE_ENDED;
  sConfig.OffsetNumber = ADC_OFFSET_NONE;
  sConfig.Offset = 0;
  if (HAL_ADC_ConfigChannel(&hadc1, &sConfig) != HAL_OK)
  {
    Error_Handler();
  }

}

static void MX_I2C1_Init(void)
{

  hi2c1.Instance = I2C1;
  hi2c1.Init.Timing = 0x00100D14;
  hi2c1.Init.OwnAddress1 = 0;
  hi2c1.Init.AddressingMode = I2C_ADDRESSINGMODE_7BIT;
  hi2c1.Init.DualAddressMode = I2C_DUALADDRESS_DISABLE;
  hi2c1.Init.OwnAddress2 = 0;
  hi2c1.Init.OwnAddress2Masks = I2C_OA2_NOMASK;
  hi2c1.Init.GeneralCallMode = I2C_GENERALCALL_DISABLE;
  hi2c1.Init.NoStretchMode = I2C_NOSTRETCH_DISABLE;
  if (HAL_I2C_Init(&hi2c1) != HAL_OK)
  {
    Error_Handler();
  }

  /** Configure Analogue filter
  */
  if (HAL_I2CEx_ConfigAnalogFilter(&hi2c1, I2C_ANALOGFILTER_ENABLE) != HAL_OK)
  {
    Error_Handler();
  }

  /** Configure Digital filter
  */
  if (HAL_I2CEx_ConfigDigitalFilter(&hi2c1, 0) != HAL_OK)
  {
    Error_Handler();
  }

}

static void MX_LPUART1_UART_Init(void)
{

  hlpuart1.Instance = LPUART1;
  hlpuart1.Init.BaudRate = 115200;
  hlpuart1.Init.WordLength = UART_WORDLENGTH_8B;
  hlpuart1.Init.StopBits = UART_STOPBITS_1;
  hlpuart1.Init.Parity = UART_PARITY_NONE;
  hlpuart1.Init.Mode = UART_MODE_TX_RX;
  hlpuart1.Init.HwFlowCtl = UART_HWCONTROL_NONE;
  hlpuart1.Init.OneBitSampling = UART_ONE_BIT_SAMPLE_DISABLE;
  hlpuart1.Init.ClockPrescaler = UART_PRESCALER_DIV1;
  hlpuart1.AdvancedInit.AdvFeatureInit = UART_ADVFEATURE_NO_INIT;
  hlpuart1.FifoMode = UART_FIFOMODE_DISABLE;
  if (HAL_UART_Init(&hlpuart1) != HAL_OK)
  {
    Error_Handler();
  }
  if (HAL_UARTEx_SetTxFifoThreshold(&hlpuart1, UART_TXFIFO_THRESHOLD_1_8) != HAL_OK)
  {
    Error_Handler();
  }
  if (HAL_UARTEx_SetRxFifoThreshold(&hlpuart1, UART_RXFIFO_THRESHOLD_1_8) != HAL_OK)
  {
    Error_Handler();
  }
  if (HAL_UARTEx_DisableFifoMode(&hlpuart1) != HAL_OK)
  {
    Error_Handler();
  }

}

static void MX_UART4_Init(void)
{

  huart4.Instance = UART4;
  huart4.Init.BaudRate = 9600;
  huart4.Init.WordLength = UART_WORDLENGTH_8B;
  huart4.Init.StopBits = UART_STOPBITS_1;
  huart4.Init.Parity = UART_PARITY_NONE;
  huart4.Init.Mode = UART_MODE_TX_RX;
  huart4.Init.HwFlowCtl = UART_HWCONTROL_NONE;
  huart4.Init.OverSampling = UART_OVERSAMPLING_16;
  huart4.Init.OneBitSampling = UART_ONE_BIT_SAMPLE_DISABLE;
  huart4.Init.ClockPrescaler = UART_PRESCALER_DIV1;
  huart4.AdvancedInit.AdvFeatureInit = UART_ADVFEATURE_NO_INIT;
  if (HAL_UART_Init(&huart4) != HAL_OK)
  {
    Error_Handler();
  }
  if (HAL_UARTEx_SetTxFifoThreshold(&huart4, UART_TXFIFO_THRESHOLD_1_8) != HAL_OK)
  {
    Error_Handler();
  }
  if (HAL_UARTEx_SetRxFifoThreshold(&huart4, UART_RXFIFO_THRESHOLD_1_8) != HAL_OK)
  {
    Error_Handler();
  }
  if (HAL_UARTEx_DisableFifoMode(&huart4) != HAL_OK)
  {
    Error_Handler();
  }

}

static void MX_UART5_Init(void)
{

  huart5.Instance = UART5;
  huart5.Init.BaudRate = 9600;
  huart5.Init.WordLength = UART_WORDLENGTH_8B;
  huart5.Init.StopBits = UART_STOPBITS_1;
  huart5.Init.Parity = UART_PARITY_NONE;
  huart5.Init.Mode = UART_MODE_TX_RX;
  huart5.Init.HwFlowCtl = UART_HWCONTROL_NONE;
  huart5.Init.OverSampling = UART_OVERSAMPLING_16;
  huart5.Init.OneBitSampling = UART_ONE_BIT_SAMPLE_DISABLE;
  huart5.Init.ClockPrescaler = UART_PRESCALER_DIV1;
  huart5.AdvancedInit.AdvFeatureInit = UART_ADVFEATURE_NO_INIT;
  if (HAL_UART_Init(&huart5) != HAL_OK)
  {
    Error_Handler();
  }
  if (HAL_UARTEx_SetTxFifoThreshold(&huart5, UART_TXFIFO_THRESHOLD_1_8) != HAL_OK)
  {
    Error_Handler();
  }
  if (HAL_UARTEx_SetRxFifoThreshold(&huart5, UART_RXFIFO_THRESHOLD_1_8) != HAL_OK)
  {
    Error_Handler();
  }
  if (HAL_UARTEx_DisableFifoMode(&huart5) != HAL_OK)
  {
    Error_Handler();
  }

}

static void MX_SPI1_Init(void)
{

  /* SPI1 parameter configuration*/
  hspi1.Instance = SPI1;
  hspi1.Init.Mode = SPI_MODE_MASTER;
  hspi1.Init.Direction = SPI_DIRECTION_2LINES;
  hspi1.Init.DataSize = SPI_DATASIZE_8BIT;
  hspi1.Init.CLKPolarity = SPI_POLARITY_LOW;
  hspi1.Init.CLKPhase = SPI_PHASE_1EDGE;
  hspi1.Init.NSS = SPI_NSS_SOFT;
  hspi1.Init.BaudRatePrescaler = SPI_BAUDRATEPRESCALER_32;
  hspi1.Init.FirstBit = SPI_FIRSTBIT_MSB;
  hspi1.Init.TIMode = SPI_TIMODE_DISABLE;
  hspi1.Init.CRCCalculation = SPI_CRCCALCULATION_DISABLE;
  hspi1.Init.CRCPolynomial = 7;
  hspi1.Init.CRCLength = SPI_CRC_LENGTH_DATASIZE;
  hspi1.Init.NSSPMode = SPI_NSS_PULSE_ENABLE;
  if (HAL_SPI_Init(&hspi1) != HAL_OK)
  {
    Error_Handler();
  }

}

static void MX_TIM1_Init(void)
{

  TIM_MasterConfigTypeDef sMasterConfig = {0};
  TIM_OC_InitTypeDef sConfigOC = {0};
  TIM_BreakDeadTimeConfigTypeDef sBreakDeadTimeConfig = {0};

  htim1.Instance = TIM1;
  htim1.Init.Prescaler = 0;
  htim1.Init.CounterMode = TIM_COUNTERMODE_UP;
  htim1.Init.Period = 65535;
  htim1.Init.ClockDivision = TIM_CLOCKDIVISION_DIV1;
  htim1.Init.RepetitionCounter = 0;
  htim1.Init.AutoReloadPreload = TIM_AUTORELOAD_PRELOAD_DISABLE;
  if (HAL_TIM_PWM_Init(&htim1) != HAL_OK)
  {
    Error_Handler();
  }
  sMasterConfig.MasterOutputTrigger = TIM_TRGO_RESET;
  sMasterConfig.MasterOutputTrigger2 = TIM_TRGO2_RESET;
  sMasterConfig.MasterSlaveMode = TIM_MASTERSLAVEMODE_DISABLE;
  if (HAL_TIMEx_MasterConfigSynchronization(&htim1, &sMasterConfig) != HAL_OK)
  {
    Error_Handler();
  }
  sConfigOC.OCMode = TIM_OCMODE_PWM1;
  sConfigOC.Pulse = 0;
  sConfigOC.OCPolarity = TIM_OCPOLARITY_HIGH;
  sConfigOC.OCNPolarity = TIM_OCNPOLARITY_HIGH;
  sConfigOC.OCFastMode = TIM_OCFAST_DISABLE;
  sConfigOC.OCIdleState = TIM_OCIDLESTATE_RESET;
  sConfigOC.OCNIdleState = TIM_OCNIDLESTATE_RESET;
  if (HAL_TIM_PWM_ConfigChannel(&htim1, &sConfigOC, TIM_CHANNEL_1) != HAL_OK)
  {
    Error_Handler();
  }
  sBreakDeadTimeConfig.OffStateRunMode = TIM_OSSR_DISABLE;
  sBreakDeadTimeConfig.OffStateIDLEMode = TIM_OSSI_DISABLE;
  sBreakDeadTimeConfig.LockLevel = TIM_LOCKLEVEL_OFF;
  sBreakDeadTimeConfig.DeadTime = 0;
  sBreakDeadTimeConfig.BreakState = TIM_BREAK_DISABLE;
  sBreakDeadTimeConfig.BreakPolarity = TIM_BREAKPOLARITY_HIGH;
  sBreakDeadTimeConfig.BreakFilter = 0;
  sBreakDeadTimeConfig.Break2State = TIM_BREAK2_DISABLE;
  sBreakDeadTimeConfig.Break2Polarity = TIM_BREAK2POLARITY_HIGH;
  sBreakDeadTimeConfig.Break2Filter = 0;
  sBreakDeadTimeConfig.AutomaticOutput = TIM_AUTOMATICOUTPUT_DISABLE;
  if (HAL_TIMEx_ConfigBreakDeadTime(&htim1, &sBreakDeadTimeConfig) != HAL_OK)
  {
    Error_Handler();
  }
  HAL_TIM_MspPostInit(&htim1);

}

static void MX_TIM3_Init(void)
{

  TIM_MasterConfigTypeDef sMasterConfig = {0};
  TIM_OC_InitTypeDef sConfigOC = {0};

  htim3.Instance = TIM3;
  htim3.Init.Prescaler = 0;
  htim3.Init.CounterMode = TIM_COUNTERMODE_UP;
  htim3.Init.Period = 65535;
  htim3.Init.ClockDivision = TIM_CLOCKDIVISION_DIV1;
  htim3.Init.AutoReloadPreload = TIM_AUTORELOAD_PRELOAD_DISABLE;
  if (HAL_TIM_PWM_Init(&htim3) != HAL_OK)
  {
    Error_Handler();
  }
  sMasterConfig.MasterOutputTrigger = TIM_TRGO_RESET;
  sMasterConfig.MasterSlaveMode = TIM_MASTERSLAVEMODE_DISABLE;
  if (HAL_TIMEx_MasterConfigSynchronization(&htim3, &sMasterConfig) != HAL_OK)
  {
    Error_Handler();
  }
  sConfigOC.OCMode = TIM_OCMODE_PWM1;
  sConfigOC.Pulse = 0;
  sConfigOC.OCPolarity = TIM_OCPOLARITY_HIGH;
  sConfigOC.OCFastMode = TIM_OCFAST_DISABLE;
  if (HAL_TIM_PWM_ConfigChannel(&htim3, &sConfigOC, TIM_CHANNEL_3) != HAL_OK)
  {
    Error_Handler();
  }
  if (HAL_TIM_PWM_ConfigChannel(&htim3, &sConfigOC, TIM_CHANNEL_4) != HAL_OK)
  {
    Error_Handler();
  }
  HAL_TIM_MspPostInit(&htim3);

}

static void MX_GPIO_Init(void)
{
  GPIO_InitTypeDef GPIO_InitStruct = {0};

  /* GPIO Ports Clock Enable */
  __HAL_RCC_GPIOE_CLK_ENABLE();
  __HAL_RCC_GPIOC_CLK_ENABLE();
  __HAL_RCC_GPIOF_CLK_ENABLE();
  __HAL_RCC_GPIOH_CLK_ENABLE();
  __HAL_RCC_GPIOA_CLK_ENABLE();
  __HAL_RCC_GPIOB_CLK_ENABLE();
  __HAL_RCC_GPIOD_CLK_ENABLE();
  __HAL_RCC_GPIOG_CLK_ENABLE();
  HAL_PWREx_EnableVddIO2();

  /*Configure GPIO pin Output Level */
  HAL_GPIO_WritePin(GPIOE, GPIO_PIN_2|GPIO_PIN_4, GPIO_PIN_RESET);

  /*Configure GPIO pin Output Level */
  HAL_GPIO_WritePin(GPIOA, GPIO_PIN_2|GPIO_PIN_3, GPIO_PIN_RESET);

  /*Configure GPIO pin Output Level */
  HAL_GPIO_WritePin(GPIOF, GPIO_PIN_12, GPIO_PIN_RESET);

  /*Configure GPIO pin Output Level */
  HAL_GPIO_WritePin(GPIOB, GPIO_PIN_7, GPIO_PIN_RESET);

  /*Configure GPIO pins : PE2 PE4 */
  GPIO_InitStruct.Pin = GPIO_PIN_2|GPIO_PIN_4;
  GPIO_InitStruct.Mode = GPIO_MODE_OUTPUT_PP;
  GPIO_InitStruct.Pull = GPIO_NOPULL;
  GPIO_InitStruct.Speed = GPIO_SPEED_FREQ_LOW;
  HAL_GPIO_Init(GPIOE, &GPIO_InitStruct);

  /*Configure GPIO pin : PE3 */
  GPIO_InitStruct.Pin = GPIO_PIN_3;
  GPIO_InitStruct.Mode = GPIO_MODE_AF_PP;
  GPIO_InitStruct.Pull = GPIO_NOPULL;
  GPIO_InitStruct.Speed = GPIO_SPEED_FREQ_LOW;
  GPIO_InitStruct.Alternate = GPIO_AF13_SAI1;
  HAL_GPIO_Init(GPIOE, &GPIO_InitStruct);

  /*Configure GPIO pins : PF0 PF1 PF2 */
  GPIO_InitStruct.Pin = GPIO_PIN_0|GPIO_PIN_1|GPIO_PIN_2;
  GPIO_InitStruct.Mode = GPIO_MODE_AF_OD;
  GPIO_InitStruct.Pull = GPIO_NOPULL;
  GPIO_InitStruct.Speed = GPIO_SPEED_FREQ_VERY_HIGH;
  GPIO_InitStruct.Alternate = GPIO_AF4_I2C2;
  HAL_GPIO_Init(GPIOF, &GPIO_InitStruct);

  /*Configure GPIO pin : PF7 */
  GPIO_InitStruct.Pin = GPIO_PIN_7;
  GPIO_InitStruct.Mode = GPIO_MODE_AF_PP;
  GPIO_InitStruct.Pull = GPIO_NOPULL;
  GPIO_InitStruct.Speed = GPIO_SPEED_FREQ_LOW;
  GPIO_InitStruct.Alternate = GPIO_AF13_SAI1;
  HAL_GPIO_Init(GPIOF, &GPIO_InitStruct);

  /*Configure GPIO pins : PA2 PA3 */
  GPIO_InitStruct.Pin = GPIO_PIN_2|GPIO_PIN_3;
  GPIO_InitStruct.Mode = GPIO_MODE_OUTPUT_PP;
  GPIO_InitStruct.Pull = GPIO_NOPULL;
  GPIO_InitStruct.Speed = GPIO_SPEED_FREQ_LOW;
  HAL_GPIO_Init(GPIOA, &GPIO_InitStruct);

  /*Configure GPIO pins : PB2 PB6 */
  GPIO_InitStruct.Pin = GPIO_PIN_2|GPIO_PIN_6;
  GPIO_InitStruct.Mode = GPIO_MODE_ANALOG;
  GPIO_InitStruct.Pull = GPIO_NOPULL;
  HAL_GPIO_Init(GPIOB, &GPIO_InitStruct);

  /*Configure GPIO pin : PF12 */
  GPIO_InitStruct.Pin = GPIO_PIN_12;
  GPIO_InitStruct.Mode = GPIO_MODE_OUTPUT_PP;
  GPIO_InitStruct.Pull = GPIO_NOPULL;
  GPIO_InitStruct.Speed = GPIO_SPEED_FREQ_LOW;
  HAL_GPIO_Init(GPIOF, &GPIO_InitStruct);

  /*Configure GPIO pin : PB10 */
  GPIO_InitStruct.Pin = GPIO_PIN_10;
  GPIO_InitStruct.Mode = GPIO_MODE_AF_PP;
  GPIO_InitStruct.Pull = GPIO_NOPULL;
  GPIO_InitStruct.Speed = GPIO_SPEED_FREQ_LOW;
  GPIO_InitStruct.Alternate = GPIO_AF1_TIM2;
  HAL_GPIO_Init(GPIOB, &GPIO_InitStruct);

  /*Configure GPIO pins : PB12 PB13 PB15 */
  GPIO_InitStruct.Pin = GPIO_PIN_12|GPIO_PIN_13|GPIO_PIN_15;
  GPIO_InitStruct.Mode = GPIO_MODE_AF_PP;
  GPIO_InitStruct.Pull = GPIO_NOPULL;
  GPIO_InitStruct.Speed = GPIO_SPEED_FREQ_LOW;
  GPIO_InitStruct.Alternate = GPIO_AF13_SAI2;
  HAL_GPIO_Init(GPIOB, &GPIO_InitStruct);

  /*Configure GPIO pin : PB14 */
  GPIO_InitStruct.Pin = GPIO_PIN_14;
  GPIO_InitStruct.Mode = GPIO_MODE_AF_PP;
  GPIO_InitStruct.Pull = GPIO_NOPULL;
  GPIO_InitStruct.Speed = GPIO_SPEED_FREQ_LOW;
  GPIO_InitStruct.Alternate = GPIO_AF14_TIM15;
  HAL_GPIO_Init(GPIOB, &GPIO_InitStruct);

  /*Configure GPIO pins : PD8 PD9 */
  GPIO_InitStruct.Pin = GPIO_PIN_8|GPIO_PIN_9;
  GPIO_InitStruct.Mode = GPIO_MODE_AF_PP;
  GPIO_InitStruct.Pull = GPIO_NOPULL;
  GPIO_InitStruct.Speed = GPIO_SPEED_FREQ_VERY_HIGH;
  GPIO_InitStruct.Alternate = GPIO_AF7_USART3;
  HAL_GPIO_Init(GPIOD, &GPIO_InitStruct);

  /*Configure GPIO pins : PD14 PD15 */
  GPIO_InitStruct.Pin = GPIO_PIN_14|GPIO_PIN_15;
  GPIO_InitStruct.Mode = GPIO_MODE_AF_PP;
  GPIO_InitStruct.Pull = GPIO_NOPULL;
  GPIO_InitStruct.Speed = GPIO_SPEED_FREQ_LOW;
  GPIO_InitStruct.Alternate = GPIO_AF2_TIM4;
  HAL_GPIO_Init(GPIOD, &GPIO_InitStruct);

  /*Configure GPIO pin : PC6 */
  GPIO_InitStruct.Pin = GPIO_PIN_6;
  GPIO_InitStruct.Mode = GPIO_MODE_AF_PP;
  GPIO_InitStruct.Pull = GPIO_NOPULL;
  GPIO_InitStruct.Speed = GPIO_SPEED_FREQ_LOW;
  GPIO_InitStruct.Alternate = GPIO_AF13_SAI2;
  HAL_GPIO_Init(GPIOC, &GPIO_InitStruct);

  /*Configure GPIO pins : PA8 PA10 */
  GPIO_InitStruct.Pin = GPIO_PIN_8|GPIO_PIN_10;
  GPIO_InitStruct.Mode = GPIO_MODE_AF_PP;
  GPIO_InitStruct.Pull = GPIO_NOPULL;
  GPIO_InitStruct.Speed = GPIO_SPEED_FREQ_VERY_HIGH;
  GPIO_InitStruct.Alternate = GPIO_AF10_OTG_FS;
  HAL_GPIO_Init(GPIOA, &GPIO_InitStruct);

  /*Configure GPIO pin : PA9 */
  GPIO_InitStruct.Pin = GPIO_PIN_9;
  GPIO_InitStruct.Mode = GPIO_MODE_INPUT;
  GPIO_InitStruct.Pull = GPIO_NOPULL;
  HAL_GPIO_Init(GPIOA, &GPIO_InitStruct);

  /*Configure GPIO pins : PC10 PC11 */
  GPIO_InitStruct.Pin = GPIO_PIN_10|GPIO_PIN_11;
  GPIO_InitStruct.Mode = GPIO_MODE_AF_PP;
  GPIO_InitStruct.Pull = GPIO_NOPULL;
  GPIO_InitStruct.Speed = GPIO_SPEED_FREQ_VERY_HIGH;
  GPIO_InitStruct.Alternate = GPIO_AF12_SDMMC1;
  HAL_GPIO_Init(GPIOC, &GPIO_InitStruct);

  /*Configure GPIO pin : PD0 */
  GPIO_InitStruct.Pin = GPIO_PIN_0;
  GPIO_InitStruct.Mode = GPIO_MODE_AF_PP;
  GPIO_InitStruct.Pull = GPIO_NOPULL;
  GPIO_InitStruct.Speed = GPIO_SPEED_FREQ_VERY_HIGH;
  GPIO_InitStruct.Alternate = GPIO_AF9_CAN1;
  HAL_GPIO_Init(GPIOD, &GPIO_InitStruct);

  /*Configure GPIO pins : PD3 PD4 PD5 PD6 */
  GPIO_InitStruct.Pin = GPIO_PIN_3|GPIO_PIN_4|GPIO_PIN_5|GPIO_PIN_6;
  GPIO_InitStruct.Mode = GPIO_MODE_AF_PP;
  GPIO_InitStruct.Pull = GPIO_NOPULL;
  GPIO_InitStruct.Speed = GPIO_SPEED_FREQ_VERY_HIGH;
  GPIO_InitStruct.Alternate = GPIO_AF7_USART2;
  HAL_GPIO_Init(GPIOD, &GPIO_InitStruct);

  /*Configure GPIO pins : PB3 PB4 PB5 */
  GPIO_InitStruct.Pin = GPIO_PIN_3|GPIO_PIN_4|GPIO_PIN_5;
  GPIO_InitStruct.Mode = GPIO_MODE_AF_PP;
  GPIO_InitStruct.Pull = GPIO_NOPULL;
  GPIO_InitStruct.Speed = GPIO_SPEED_FREQ_VERY_HIGH;
  GPIO_InitStruct.Alternate = GPIO_AF6_SPI3;
  HAL_GPIO_Init(GPIOB, &GPIO_InitStruct);

  /*Configure GPIO pin : PB7 */
  GPIO_InitStruct.Pin = GPIO_PIN_7;
  GPIO_InitStruct.Mode = GPIO_MODE_OUTPUT_PP;
  GPIO_InitStruct.Pull = GPIO_NOPULL;
  GPIO_InitStruct.Speed = GPIO_SPEED_FREQ_LOW;
  HAL_GPIO_Init(GPIOB, &GPIO_InitStruct);

  /*Configure GPIO pin : PE0 */
  GPIO_InitStruct.Pin = GPIO_PIN_0;
  GPIO_InitStruct.Mode = GPIO_MODE_AF_PP;
  GPIO_InitStruct.Pull = GPIO_NOPULL;
  GPIO_InitStruct.Speed = GPIO_SPEED_FREQ_LOW;
  GPIO_InitStruct.Alternate = GPIO_AF2_TIM4;
  HAL_GPIO_Init(GPIOE, &GPIO_InitStruct);

  /* USER CODE BEGIN MX_GPIO_Init_2 */
  /* Configure PC0 as analog for ADC */
	GPIO_InitStruct.Pin  = GPIO_PIN_0;
	GPIO_InitStruct.Mode = GPIO_MODE_ANALOG_ADC_CONTROL;
	GPIO_InitStruct.Pull = GPIO_NOPULL;
	HAL_GPIO_Init(GPIOC, &GPIO_InitStruct);
  /* USER CODE END MX_GPIO_Init_2 */
}

/* USER CODE BEGIN 4 */
#ifdef __GNUC__
#define PUTCHAR_PROTOTYPE int __io_putchar(int ch)
#else
  #define PUTCHAR_PROTOTYPE int fputc(int ch, FILE *f)
#endif /* __GNUC__ */
PUTCHAR_PROTOTYPE
{
  HAL_UART_Transmit(&hlpuart1, (uint8_t *)&ch, 1, 0xFFFF);
  return ch;
}

void HAL_UART_RxCpltCallback(UART_HandleTypeDef *huart)
{
    if (huart == &huart5) {
        xbee_int_ready = 1;
        HAL_UART_Receive_IT(&huart5, xbee_int_buf, 4);
    }
}
void HAL_UART_ErrorCallback(UART_HandleTypeDef *huart)
{
    if (huart == &huart5) {
        HAL_UART_Receive_IT(&huart5, xbee_int_buf, 4);
    }
}
/* USER CODE END 4 */

void Error_Handler(void)
{
  __disable_irq();
  while (1)
  {
  }
}
